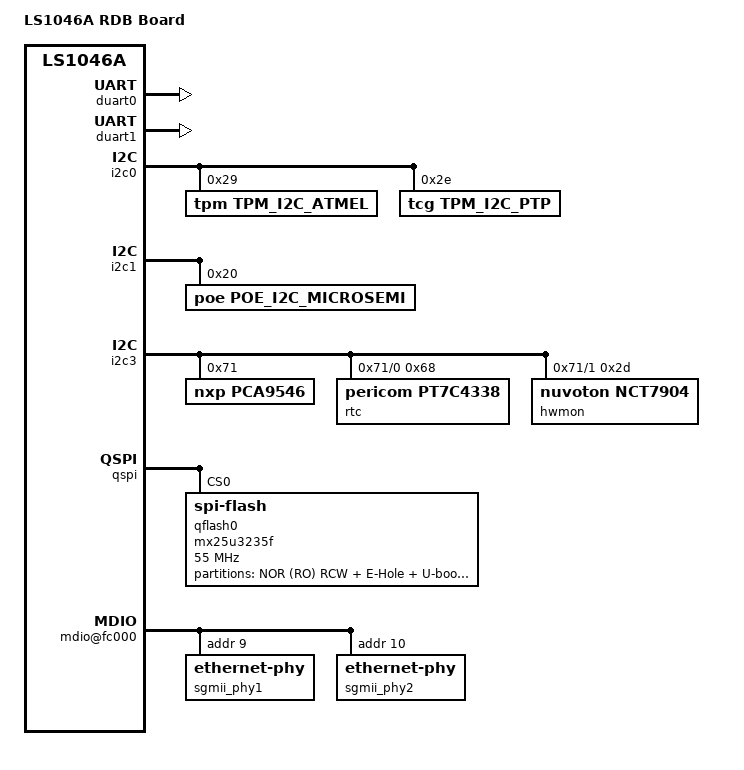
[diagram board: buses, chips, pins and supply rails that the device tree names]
// SPDX-License-Identifier: (GPL-2.0+ OR MIT)
/*
 * Device Tree Include file for Freescale Layerscape-1046A family SoC.
 *
 * Copyright 2016 Freescale Semiconductor, Inc.
 *
 * Mingkai Hu <mingkai.hu@nxp.com>
 */

/dts-v1/;

#include "fsl-ls1046a.dtsi"

/ {
	model = "LS1046A RDB Board";
	compatible = "fsl,ls1046a-rdb", "fsl,ls1046a";

	aliases {
		serial0 = &duart0;
		serial1 = &duart1;
		serial2 = &duart2;
		serial3 = &duart3;
		spi0 = &qspi;
	};

	chosen {
		stdout-path = "serial0:115200n8";
	};
};

&duart0 {
	status = "okay";
};

&duart1 {
	status = "okay";
};

&esdhc {
	mmc-hs200-1_8v;
	sd-uhs-sdr104;
	sd-uhs-sdr50;
	sd-uhs-sdr25;
	sd-uhs-sdr12;
};

&i2c0 {
	status = "okay";
    tpm@29 {
             compatible = "tpm,tpm_i2c_atmel";
             reg = <0x29>;
    };
    tpm_i2c_ptp: tpm_i2c_ptp@2e {
            compatible = "tcg,tpm_i2c_ptp";
            reg = <0x2e>;
            /* tpm-pirq = <&gpio 24 GPIO_ACTIVE_HIGH>; */
    };

#if 0
	ina220@40 {
		compatible = "ti,ina220";
		reg = <0x40>;
		shunt-resistor = <1000>;
	};

	temp-sensor@4c {
		compatible = "adi,adt7461";
		reg = <0x4c>;
	};

	eeprom@56 {
		compatible = "atmel,24c512";
		reg = <0x52>;
	};

	eeprom@57 {
		compatible = "atmel,24c512";
		reg = <0x53>;
	};
#endif
};
&i2c1 {
	status = "okay";
    poe@20 {
            compatible = "poe,poe_i2c_microsemi";
            reg = <0x20>;
    };
};

&i2c3 {
	status = "okay";
	/*
	rtc@51 {
		compatible = "nxp,pcf2129";
		reg = <0x51>;
	};*/
	/* Talor Lin fixed [FBX-17370]: T80 hw clock/rtc doesn't work */
        pca9546@71 {
                compatible = "nxp,pca9546";
                reg = <0x71>;
                #address-cells = <1>;
                #size-cells = <0>;

                i2c@0 {
                        #address-cells = <1>;
                        #size-cells = <0>;
                        reg = <0x0>;

                        rtc@68 {
                                compatible = "pericom,pt7c4338";
                                reg = <0x68>;
                        };
                };

                i2c@1 {
                        #address-cells = <1>;
                        #size-cells = <0>;
                        reg = <0x1>;

                        hwmon@2d {
                                compatible = "nuvoton,nct7904";
                                reg = <0x2d>;
                        };
                };
        };	
};

#if 0
&ifc {
	#address-cells = <2>;
	#size-cells = <1>;
	/* NAND Flashe and CPLD on board */
	ranges = <0x0 0x0 0x0 0x7e800000 0x00010000
		  0x2 0x0 0x0 0x7fb00000 0x00000100>;
	status = "okay";

	nand@0,0 {
		compatible = "fsl,ifc-nand";
		#address-cells = <1>;
		#size-cells = <1>;
		reg = <0x0 0x0 0x10000>;
	};

	cpld: board-control@2,0 {
		compatible = "fsl,ls1046ardb-cpld";
		reg = <0x2 0x0 0x0000100>;
	};
};
#endif

&qspi {
        bus-num = <0>;
        status = "okay";

        qflash0: mx25u3235f@0 {
                #address-cells = <1>;
                #size-cells = <1>;
                compatible = "spi-flash";
                spi-max-frequency = <55000000>;
                reg = <0>;

                partition@uboot {
                         /*2MB: RCW (64K + ~960K hole + u-boot bin */
                        reg = <0x0 0x00200000>;
                        label = "NOR (RO) RCW + E-Hole + U-boot Image";
                };

                partition@EMPTY-Hole-1 {
                         /*64KB: EMPTY-hole TODO:FIXME or leave me (precaution: incase we have to u-boot down */
                        reg = <0x200000 0x10000>;
                        label = "NOR (RO) EMPTY Hole 1";
                };

                partition@env {
                         /*64KB: u-boot ENV */
                        reg = <0x210000 0x10000>;
                        label = "NOR (RW) U-Boot ENV";
                };

                partition@fman-current {
                         /*128KB: Current fman ucode */
                        label = "NOR (RW) FMAN UCODE";
                        reg = <0x220000 0x20000>;
                };

                partition@ppa {
                         /*256KB: E-hole 2 (make it T20/T40 compatible) storing PPA */
                        label = "NOR (RW) E-HOLE 2 or PPA";
                        reg = <0x240000 0x40000>;
                };

                partition@WG-CFG0 {
                         /*128KB: WG CFG0 */
                        reg = <0x280000 0x20000>;
                        label = "NOR (RW) WG CFG0";
                };

                partition@WG-CFG1 {
                         /*128KB: WG CFG1 */
                        reg = <0x2a0000 0x20000>;
                        label = "NOR (RW) WG CFG1";
                };

                partition@WG-MFG {
                         /*128KB: WG MFG */
                        reg = <0x2c0000 0x20000>;
                        label = "NOR (RW) WG MFG";
                };

                partition@EMPTY-Hole-3 {
                         /*128KB: E-Hole 3 */
                        reg = <0x2e0000 0x20000>;
                        label = "NOR (RW) E-HOLE 3";
                };

                partition@EMPTY-Hole-4 {
                         /*128KB: E-Hole 4 */
                        reg = <0x300000 0x20000>;
                        label = "NOR (RW) E-HOLE 4";
                };

                partition@WG-bootOpt {
                         /*896KB: WG bootOpt Data & reserved (end of Flash) */
                        reg = <0x320000 0xe0000>;
                        label = "NOR (RW) WG bootOpt Data & reserved";
                };
        };
};

#include "fsl-ls1046-post.dtsi"

&fman0 {

	ethernet@e0000 {
		status = "disabled";
	};
	ethernet@e2000 {
		status = "disabled";
	};
	ethernet@e4000 {
		status = "disabled";
	};
	ethernet@e6000 {
		status = "disabled";
	};
	ethernet@e8000 {
		status = "disabled";
	};
	ethernet@ea000 {
		status = "disabled";
	};
	ethernet@ec000 {
		status = "disabled";
	};
	ethernet@ee000 {
		status = "disabled";
	};

	ethernet@f0000 { /* 2.5GEC1 */
		fixed-link = <0 1 1000 0 0>;
		phy-connection-type = "sgmii-2500";
		phy-mode = "sgmii-2500";
	};

	ethernet@f2000 { /* 2.5GEC2 */
		fixed-link = <0 1 1000 0 0>;
		phy-connection-type = "sgmii-2500";
		phy-mode = "sgmii-2500";
	};

	mdio@fc000 {
		compatible = "fsl,fman-xmdio";
		reg = <0xfc000 0x1000>;
		sgmii_phy1: ethernet-phy@9 {
			reg = <0x9>;
		};
		sgmii_phy2: ethernet-phy@10 {
			reg = <0xa>;
		};
	};
};
